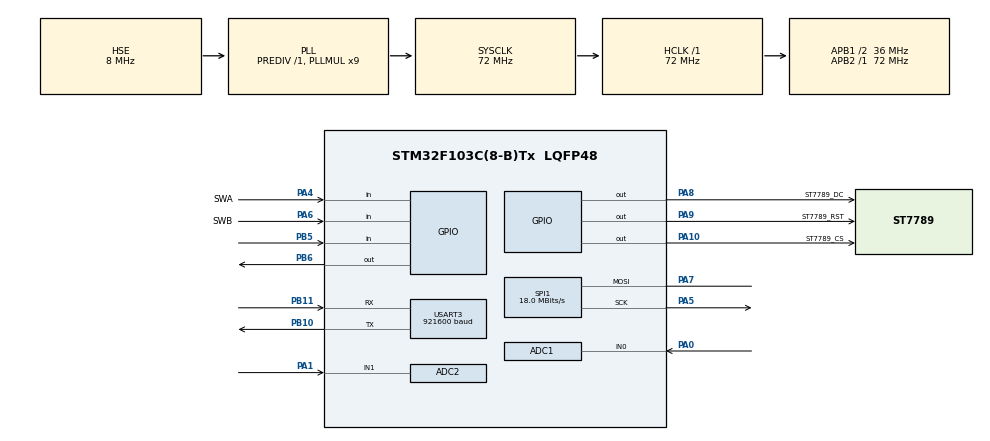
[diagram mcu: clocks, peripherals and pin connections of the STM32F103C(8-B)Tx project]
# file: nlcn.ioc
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ADC1.Channel-0\#ChannelRegularConversion=ADC_CHANNEL_0
ADC1.ContinuousConvMode=ENABLE
ADC1.NbrOfConversionFlag=1
ADC1.Rank-0\#ChannelRegularConversion=1
ADC1.SamplingTime-0\#ChannelRegularConversion=ADC_SAMPLETIME_1CYCLE_5
ADC1.master=1
ADC2.Channel-0\#ChannelRegularConversion=ADC_CHANNEL_1
ADC2.ContinuousConvMode=ENABLE
ADC2.NbrOfConversionFlag=1
ADC2.Rank-0\#ChannelRegularConversion=1
ADC2.SamplingTime-0\#ChannelRegularConversion=ADC_SAMPLETIME_1CYCLE_5
FREERTOS.Queues01=InputEvent,16,InputEvent,0,Dynamic,NULL,NULL
FREERTOS.Tasks01=defaultTask,0,1000,StartDefaultTask,Default,NULL,Dynamic,NULL,NULL;StartInputTask,1,512,InputTask,Default,NULL,Dynamic,NULL,NULL
FREERTOS.configTOTAL_HEAP_SIZE=8000
FREERTOS.configUSE_NEWLIB_REENTRANT=1
Mcu.Family=STM32F1
Mcu.Name=STM32F103C(8-B)Tx
Mcu.Package=LQFP48
NVIC.PriorityGroup=NVIC_PRIORITYGROUP_4
NVIC.TIM2_IRQn=true\:15\:0\:false\:false\:true\:false\:false\:true\:true
NVIC.TimeBase=TIM2_IRQn
NVIC.TimeBaseIP=TIM2
NVIC.USART3_IRQn=true\:5\:0\:false\:false\:true\:true\:true\:true\:true
PA0-WKUP.Signal=ADCx_IN0
PA1.Signal=ADCx_IN1
PA10.GPIO_Label=ST7789_CS
PA10.Signal=GPIO_Output
PA13.Mode=Serial_Wire
PA13.Signal=SYS_JTMS-SWDIO
PA14.Mode=Serial_Wire
PA14.Signal=SYS_JTCK-SWCLK
PA4.GPIO_Label=SWA
PA4.GPIO_PuPd=GPIO_PULLDOWN
PA4.Signal=GPIO_Input
PA5.Mode=Simplex_Bidirectional_Master
PA5.Signal=SPI1_SCK
PA6.GPIO_Label=SWB
PA6.GPIO_PuPd=GPIO_PULLDOWN
PA6.Signal=GPIO_Input
PA7.Mode=Simplex_Bidirectional_Master
PA7.Signal=SPI1_MOSI
PA8.GPIO_Label=ST7789_DC
PA8.Signal=GPIO_Output
PA9.GPIO_Label=ST7789_RST
PA9.Signal=GPIO_Output
PB10.Mode=Asynchronous
PB10.Signal=USART3_TX
PB11.Mode=Asynchronous
PB11.Signal=USART3_RX
PB5.GPIO_PuPd=GPIO_PULLUP
PB5.Signal=GPIO_Input
PB6.Signal=GPIO_Output
PD0-OSC_IN.Mode=HSE-External-Oscillator
PD0-OSC_IN.Signal=RCC_OSC_IN
PD1-OSC_OUT.Mode=HSE-External-Oscillator
PD1-OSC_OUT.Signal=RCC_OSC_OUT
ProjectManager.HeapSize=0x200
ProjectManager.StackSize=0x400
ProjectManager.TargetToolchain=STM32CubeIDE
RCC.ADCPresc=RCC_ADCPCLK2_DIV6
RCC.AHBFreq_Value=72000000
RCC.APB1CLKDivider=RCC_HCLK_DIV2
RCC.APB1Freq_Value=36000000
RCC.APB1TimFreq_Value=72000000
RCC.APB2Freq_Value=72000000
RCC.APB2TimFreq_Value=72000000
RCC.HCLKFreq_Value=72000000
RCC.PLLMUL=RCC_PLL_MUL9
RCC.PLLSourceVirtual=RCC_PLLSOURCE_HSE
RCC.SYSCLKFreq_VALUE=72000000
RCC.SYSCLKSource=RCC_SYSCLKSOURCE_PLLCLK
RCC.USBFreq_Value=72000000
SH.ADCx_IN0.0=ADC1_IN0,IN0
SH.ADCx_IN1.0=ADC2_IN1,IN1
SPI1.BaudRatePrescaler=SPI_BAUDRATEPRESCALER_4
SPI1.CLKPhase=SPI_PHASE_2EDGE
SPI1.CLKPolarity=SPI_POLARITY_HIGH
SPI1.CalculateBaudRate=18.0 MBits/s
SPI1.Direction=SPI_DIRECTION_1LINE
SPI1.Mode=SPI_MODE_MASTER
SPI1.VirtualType=VM_MASTER
USART3.BaudRate=921600
USART3.VirtualMode=VM_ASYNC
VP_FREERTOS_VS_CMSIS_V1.Mode=CMSIS_V1
VP_SYS_VS_tim2.Mode=TIM2
board=custom

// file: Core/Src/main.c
/* USER CODE BEGIN Header */
/**
 ******************************************************************************
 * @file           : main.c
 * @brief          : Main program body
 ******************************************************************************
 * @attention
 *
 * Copyright (c) 2025 STMicroelectronics.
 * All rights reserved.
 *
 * This software is licensed under terms that can be found in the LICENSE file
 * in the root directory of this software component.
 * If no LICENSE file comes with this software, it is provided AS-IS.
 *
 ******************************************************************************
 */
/* USER CODE END Header */
#include "main.h"
#include "cmsis_os.h"

/* USER CODE BEGIN Includes */
#include "fonts.h"
#include "gui.h"
#include "st7789_adapter.h"
#include <stdio.h>
#include <string.h>
#include <stdarg.h>
#include "qrcodegen.h"
#include "st7789.h"
/* USER CODE END Includes */

/* USER CODE BEGIN PD */
const int32_t DEADZONE = 300;
uint8_t bufr[500];
/* USER CODE END PD */

ADC_HandleTypeDef hadc1;
ADC_HandleTypeDef hadc2;

SPI_HandleTypeDef hspi1;

UART_HandleTypeDef huart3;

osThreadId defaultTaskHandle;
osThreadId StartInputTaskHandle;
osMessageQId InputEventHandle;

void SystemClock_Config(void);
static void MX_GPIO_Init(void);
static void MX_SPI1_Init(void);
static void MX_ADC1_Init(void);
static void MX_ADC2_Init(void);
static void MX_USART3_UART_Init(void);
void StartDefaultTask(void const * argument);
void InputTask(void const * argument);

/* USER CODE BEGIN 0 */
extern DuckEngineDriver duckDriver;
void draw_rectangle(int16_t x, int16_t y, int16_t w, int16_t h, uint16_t color) {
	duckDriver.DrawFilledRectangle(x, y, w, h, color);
}
void drawQRCode(const uint8_t *qrcode, int scale, int offset_x, int offset_y) {
	int size = qrcodegen_getSize(qrcode);
	for (int y = 0; y < size; y++) {
		for (int x = 0; x < size; x++) {
			if (qrcodegen_getModule(qrcode, x, y)) {
				draw_rectangle(offset_x + x * scale, offset_y + y * scale,
						scale, scale, BLACK);
			} else {
				draw_rectangle(offset_x + x * scale, offset_y + y * scale,
						scale, scale, WHITE);
			}
		}
	}
}
int8_t my_filter_adc(uint16_t raw_dir) {
	int32_t centered = (int32_t) raw_dir - 1967;
	int32_t scaled = (centered * 128) / 2048;
	if (scaled > 127)
		scaled = 127;
	if (scaled < -128)
		scaled = -128;
	return (int8_t) scaled;
}
void DuckEngineHanleInput() {
	static uint8_t isLeftHeld = 0, isRightHeld = 0, isUpHeld = 0,
			isDownHeld = 0;
	static uint8_t isAHeld = 0, isBHeld = 0;
	static uint32_t lastInputTime = 0;
	if (HAL_GetTick() - lastInputTime < 100)
		return;
	lastInputTime = HAL_GetTick();
	int sumX = 0, sumY = 0;
	for (int i = 0; i < 5; i++) {
		sumX += HAL_ADC_GetValue(&hadc2);
		sumY += HAL_ADC_GetValue(&hadc1);
	}
	int avgX = sumX / 5;
	int avgY = sumY / 5;
	int8_t joystick_x = my_filter_adc(avgX);
	int8_t joystick_y = my_filter_adc(avgY);
	InputEvent ipev;
	if (joystick_x <= -100) {
		if (!isLeftHeld) {
			ipev = J_LEFT;
			xQueueSend(InputEventHandle, &ipev, portMAX_DELAY);
			isLeftHeld = 1;
		}
	} else {
		isLeftHeld = 0;
	}
	if (joystick_x >= 90) {
		if (!isRightHeld) {
			ipev = J_RIGHT;
			xQueueSend(InputEventHandle, &ipev, portMAX_DELAY);
			isRightHeld = 1;
		}
	} else {
		isRightHeld = 0;
	}
	if (joystick_y >= 100) {
		if (!isUpHeld) {
			ipev = J_UP;
			xQueueSend(InputEventHandle, &ipev, portMAX_DELAY);
			isUpHeld = 1;
		}
	} else {
		isUpHeld = 0;
	}
	if (joystick_y <= -100) {
		if (!isDownHeld) {
			ipev = J_DOWN;
			xQueueSend(InputEventHandle, &ipev, portMAX_DELAY);
			isDownHeld = 1;
		}
	} else {
		isDownHeld = 0;
	}
	if (HAL_GPIO_ReadPin(GPIOA, GPIO_PIN_4) == 1) {
		if (!isAHeld) {
			ipev = BUTTON_A_CLICK;
			xQueueSend(InputEventHandle, &ipev, portMAX_DELAY);
			isAHeld = 1;
		}
	} else {
		isAHeld = 0;
	}
	if (HAL_GPIO_ReadPin(GPIOA, GPIO_PIN_6) == 1) {
		if (!isBHeld) {
			ipev = BUTTON_B_CLICK;
			xQueueSend(InputEventHandle, &ipev, portMAX_DELAY);
			isBHeld = 1;
		}
	} else {
		isBHeld = 0;
	}
}
DuckPage usr_home;
DuckPage WifiModal;
DuckPage ConfigModal;
void DuckEngine_Draw_Header() {
	duckDriver.DrawLine(0, 26, 280, 26, WHITE);
}
void DuckEngine_Draw_Footer() {
	duckDriver.DrawFilledRectangle(0, 210, 280, 30, DEEPPURPLE);
}
int _write(int fd, unsigned char *buf, int len) {
	if (fd == 1 || fd == 2) {
		HAL_UART_Transmit(&huart3, buf, len, 999);
	}
	return len;
}

void sendUARTCommand(const char *command, char *response,
		uint16_t response_size) {
	memset(response, '\0', response_size);

	// Clear any pending data in the UART receive buffer before transmitting a new command
	// This is crucial to prevent reading leftover bytes from previous communications.
	uint8_t dummy_read;
	while (HAL_UART_Receive(&huart3, &dummy_read, 1, 10) == HAL_OK)
		;

	// Send the command to the ESP32
	HAL_UART_Transmit(&huart3, (uint8_t*) command, strlen(command),
	HAL_MAX_DELAY);
	HAL_UART_Transmit(&huart3, (uint8_t*) "\n", 1, HAL_MAX_DELAY);

	// Receive the response
	uint16_t index = 0;
	uint32_t startTime = HAL_GetTick();
	const uint32_t timeout = 1000;
	while (index < response_size - 1 && (HAL_GetTick() - startTime) < timeout) {
		uint8_t c;
		if (HAL_UART_Receive(&huart3, &c, 1, 10) == HAL_OK) {
			if (c == '\n' || c == '\r') {
				break; // Stop on newline or carriage return
			}
			response[index++] = c;
		}
	}
	response[index] = '\0';

	// For debugging: Print the received response to see if it's now correct
//	printf("Received QR string: %s\n", response);
}
void getStorageInfo(char *response, uint16_t response_size) {
	sendUARTCommand("GET_STORAGE", response, response_size);
	if (strncmp(response, "ERROR", 5) == 0) {
		snprintf(response, response_size, "Error: GET_STORAGE");
	}
}
void getFilesInfo(char *response, uint16_t response_size) {
	sendUARTCommand("GET_FILES", response, response_size);
	if (strncmp(response, "ERROR", 5) == 0
			|| strncmp(response, "Files: ", 7) != 0) {
		snprintf(response, response_size, "Files: 0");
	}
}
void getUptime(char *response, uint16_t response_size) {
	sendUARTCommand("GET_UPTIME", response, response_size);
	if (strncmp(response, "ERROR", 5) == 0) {
		snprintf(response, response_size, "Error: GET_UPTIME");
	}
}
void getMemoryInfo(char *response, uint16_t response_size) {
	sendUARTCommand("GET_MEMORY", response, response_size);
	if (strncmp(response, "ERROR", 5) == 0) {
		snprintf(response, response_size, "Error: GET_MEMORY");
	}
}
void getWiFiStatus(char *response, uint16_t response_size) {
	sendUARTCommand("GET_WIFI", response, response_size);
	if (strncmp(response, "ERROR", 5) == 0) {
		snprintf(response, response_size, "Error: GET_WIFI");
	}
}
void showLoadingModal() {
	duckDriver.DrawFilledRectangle(0, 0, 280, 240, BLACK);
	duckDriver.WriteString(40, 100, "Generating QR code...", Font_11x18, WHITE,
	BLACK);
	DuckEngine_Render();
}
void BackToHome(DuckObject *obj) {
	DuckEngine_Set_CurrentPage(DuckEngine_Get_CurrentPage()->type, PAGE_HOME);
}
// Trạng thái QR
typedef struct {
    bool qr_generated;
    char wifi_data[128];
} WifiModalState;

static WifiModalState wifiModalState;

void OpenWifiModal(DuckObject *obj) {
    // Lưu trạng thái
    memset(&wifiModalState, 0, sizeof(wifiModalState));

    DuckEngine_Set_CurrentPage(DuckEngine_Get_CurrentPage()->type, PAGE_WIFI_MODAL);

    // Xóa màn hình
    duckDriver.DrawFilledRectangle(0, 0, 280, 240, WHITE);

    // UI cơ bản
    DuckEngine_Create_Label(80, 10, "Scan to connect WiFi", &Font_7x10, BLACK, WHITE, &WifiModal, 0);
    DuckEngine_Create_Button(80, 200, 100, 30, "Back", LABEL_CENTER, &Font_7x10,
                             WHITE, 0, BLACK, &WifiModal, 1, BackToHome);
    DuckEngine_Render();
}

// Hàm update QR (gọi mỗi frame trong main loop)
void UpdateWifiModal() {
    // Nếu không ở trang này thì bỏ qua
    if (DuckEngine_Get_CurrentPage()->type != PAGE_WIFI_MODAL) {
        return;
    }

    // Nếu chưa tạo QR
    if (!wifiModalState.qr_generated) {
        memset(wifiModalState.wifi_data, 0, sizeof(wifiModalState.wifi_data));
        sendUARTCommand("GET_WIFI_QR", wifiModalState.wifi_data, sizeof(wifiModalState.wifi_data) - 1);
        wifiModalState.wifi_data[sizeof(wifiModalState.wifi_data) - 1] = '\0';

        if (strlen(wifiModalState.wifi_data) == 0) {
            duckDriver.WriteString(60, 100, "No WiFi data received", Font_7x10, RED, WHITE);
            wifiModalState.qr_generated = true; // Không cần vẽ nữa
            return;
        }

        // Tạo QR
        uint8_t qrcode[qrcodegen_BUFFER_LEN_MAX];
        uint8_t tempBuffer[qrcodegen_BUFFER_LEN_MAX];

        bool ok = qrcodegen_encodeText(wifiModalState.wifi_data, tempBuffer, qrcode,
                                       qrcodegen_Ecc_LOW, qrcodegen_VERSION_MIN,
                                       qrcodegen_VERSION_MAX, qrcodegen_Mask_AUTO, true);

        if (!ok) {
            duckDriver.WriteString(40, 100, "QR encode failed", Font_7x10, RED, WHITE);
            wifiModalState.qr_generated = true;
            return;
        }

        int size = qrcodegen_getSize(qrcode);
        int scale = 4;
        int offset_x = (280 - size * scale) / 2;
        int offset_y = (240 - size * scale) / 2;

        // Vẽ QR
        for (int y = 0; y < size; y++) {
            // Nếu người dùng bấm Back giữa chừng thì thoát luôn
            if (DuckEngine_Get_CurrentPage()->type != PAGE_WIFI_MODAL) {
                return;
            }
            for (int x = 0; x < size; x++) {
                uint16_t color = qrcodegen_getModule(qrcode, x, y) ? BLACK : WHITE;
                draw_rectangle(offset_x + x * scale, offset_y + y * scale, scale, scale, color);
            }
        }
        DuckEngine_Render();
        wifiModalState.qr_generated = true;
    }
}

void OpenConfigModal(DuckObject *obj) {
    // Save state
    DuckEngine_Set_CurrentPage(DuckEngine_Get_CurrentPage()->type, PAGE_CONFIG_MODAL);

    // Clear the screen with a black background

    // Add a title to the settings window
    DuckEngine_Create_Label(80, 5, "MANUALS", &Font_11x18, SOFTWHITE, BLACK, &ConfigModal, -1);

    // General instructions label
    DuckEngine_Create_Label(20, 40, "Use manual to manage your device settings.", &Font_7x10, PASTELGREEN, BLACK, &ConfigModal, 0);

    // Labels for the WiFi Configuration section
    DuckEngine_Create_Label(20, 60, "WIFI SETUP:", &Font_7x10, PASTELPINK, BLACK, &ConfigModal, 1);
    DuckEngine_Create_Label(20, 80, "Method 1: Enter SSID/password.", &Font_7x10, SOFTWHITE, BLACK, &ConfigModal, 2);
    DuckEngine_Create_Label(20, 100, "Method 2: Scan QR code.", &Font_7x10, SOFTWHITE, BLACK, &ConfigModal, 3);
    DuckEngine_Create_Label(20, 120, "For advanced settings, go to the Admin panel.", &Font_7x10, CLOUDBLUE, BLACK, &ConfigModal, 4);

    // Labels for the general Configuration section
    DuckEngine_Create_Label(20, 150, "ADMIN SETTINGS:", &Font_7x10, PASTELYELLOW, BLACK, &ConfigModal, 5);
    DuckEngine_Create_Label(20, 170, "Change admin password and network options.", &Font_7x10, SOFTWHITE, BLACK, &ConfigModal, 6);

    // "Back" button to return to the home page
    DuckEngine_Create_Button(80, 200, 100, 30, "Back", LABEL_CENTER, &Font_7x10, WHITE, 0, PASTELBLUE, &ConfigModal, 7, BackToHome);

    DuckEngine_Render();
}
void HomePage(DuckPage *page) {
	char response[64];
	DuckEngine_Create_Label(80, 5, "NAS MANAGER", &Font_11x18, SOFTWHITE, BLACK,
			page, 0);
	getStorageInfo(response, sizeof(response));
	page->storage_label = DuckEngine_Create_Label(10, 35, response, &Font_7x10,
	PASTELGREEN, BLACK, page, 0);
	getFilesInfo(response, sizeof(response));
	page->files_label = DuckEngine_Create_Label(10, 50, response, &Font_7x10,
	PASTELGREEN, BLACK, page, 0);
	getUptime(response, sizeof(response));
	page->uptime_label = DuckEngine_Create_Label(10, 70, response, &Font_7x10,
	CLOUDBLUE, BLACK, page, 0);
	getMemoryInfo(response, sizeof(response));
	page->memory_label = DuckEngine_Create_Label(10, 85, response, &Font_7x10,
	CLOUDBLUE, BLACK, page, 0);
	DuckEngine_Create_Label(10, 110, "WiFi:", &Font_7x10, PASTELPINK, BLACK,
			page, 0);
	getWiFiStatus(response, sizeof(response));
	page->wifi_label = DuckEngine_Create_Label(60, 110, response, &Font_7x10,
	PASTELPINK, BLACK, page, 0);
	DuckEngine_Create_Button(30, 140, 100, 30, "Connect to WiFi", LABEL_CENTER,
			&Font_7x10, BLACK, 0, PASTELBLUE, page, 1, OpenWifiModal);
	DuckEngine_Create_Button(150, 140, 100, 30, "Change Config", LABEL_CENTER,
			&Font_7x10, BLACK, 0, PASTELYELLOW, page, 1, OpenConfigModal);
	DuckEngine_Create_Label(100, 200, "Version: 1.0", &Font_7x10, SOFTWHITE,
	BLACK, page, 0);
}
void UpdateHomePageLabels(DuckPage *page) {
	char response[128];
	getStorageInfo(response, sizeof(response));
	if (page->storage_label) {
		DuckLabel *label = (DuckLabel*) page->storage_label;
		memset(label->text, 0, sizeof(label->text));
		strncpy(label->text, response, sizeof(label->text) - 1);
		label->text[sizeof(label->text) - 1] = '\0';
		label->base.isNeedUpdate = 1;
	}
	getFilesInfo(response, sizeof(response));
	if (page->files_label) {
		DuckLabel *label = (DuckLabel*) page->files_label;
		memset(label->text, 0, sizeof(label->text));
		strncpy(label->text, response, sizeof(label->text) - 1);
		label->text[sizeof(label->text) - 1] = '\0';
		label->base.isNeedUpdate = 1;
	}
	getUptime(response, sizeof(response));
	if (page->uptime_label) {
		DuckLabel *label = (DuckLabel*) page->uptime_label;
		memset(label->text, 0, sizeof(label->text));
		strncpy(label->text, response, sizeof(label->text) - 1);
		label->text[sizeof(label->text) - 1] = '\0';
		label->base.isNeedUpdate = 1;
	}
	getMemoryInfo(response, sizeof(response));
	if (page->memory_label) {
		DuckLabel *label = (DuckLabel*) page->memory_label;
		memset(label->text, 0, sizeof(label->text));
		strncpy(label->text, response, sizeof(label->text) - 1);
		label->text[sizeof(label->text) - 1] = '\0';
		label->base.isNeedUpdate = 1;
	}
	getWiFiStatus(response, sizeof(response));
	if (page->wifi_label) {
		DuckLabel *label = (DuckLabel*) page->wifi_label;
		memset(label->text, 0, sizeof(label->text));
		strncpy(label->text, response, sizeof(label->text) - 1);
		label->text[sizeof(label->text) - 1] = '\0';
		label->base.isNeedUpdate = 1;
	}
}
/* USER CODE END 0 */

int main(void)
{

  /* MCU Configuration--------------------------------------------------------*/

  /* Reset of all peripherals, Initializes the Flash interface and the Systick. */
  HAL_Init();

  /* Configure the system clock */
  SystemClock_Config();

  /* Initialize all configured peripherals */
  MX_GPIO_Init();
  MX_SPI1_Init();
  MX_ADC1_Init();
  MX_ADC2_Init();
  MX_USART3_UART_Init();

  /* Create the queue(s) */
  /* definition and creation of InputEvent */
  osMessageQDef(InputEvent, 16, InputEvent);
  InputEventHandle = osMessageCreate(osMessageQ(InputEvent), NULL);

  /* Create the thread(s) */
  /* definition and creation of defaultTask */
  osThreadDef(defaultTask, StartDefaultTask, osPriorityNormal, 0, 1000);
  defaultTaskHandle = osThreadCreate(osThread(defaultTask), NULL);

  /* definition and creation of StartInputTask */
  osThreadDef(StartInputTask, InputTask, osPriorityAboveNormal, 0, 512);
  StartInputTaskHandle = osThreadCreate(osThread(StartInputTask), NULL);

  /* Start scheduler */
  osKernelStart();

  /* We should never get here as control is now taken by the scheduler */

  /* Infinite loop */
  while (1)
  {

  }
}

void SystemClock_Config(void)
{
  RCC_OscInitTypeDef RCC_OscInitStruct = {0};
  RCC_ClkInitTypeDef RCC_ClkInitStruct = {0};
  RCC_PeriphCLKInitTypeDef PeriphClkInit = {0};

  /** Initializes the RCC Oscillators according to the specified parameters
  * in the RCC_OscInitTypeDef structure.
  */
  RCC_OscInitStruct.OscillatorType = RCC_OSCILLATORTYPE_HSE;
  RCC_OscInitStruct.HSEState = RCC_HSE_ON;
  RCC_OscInitStruct.HSEPredivValue = RCC_HSE_PREDIV_DIV1;
  RCC_OscInitStruct.HSIState = RCC_HSI_ON;
  RCC_OscInitStruct.PLL.PLLState = RCC_PLL_ON;
  RCC_OscInitStruct.PLL.PLLSource = RCC_PLLSOURCE_HSE;
  RCC_OscInitStruct.PLL.PLLMUL = RCC_PLL_MUL9;
  if (HAL_RCC_OscConfig(&RCC_OscInitStruct) != HAL_OK)
  {
    Error_Handler();
  }

  /** Initializes the CPU, AHB and APB buses clocks
  */
  RCC_ClkInitStruct.ClockType = RCC_CLOCKTYPE_HCLK|RCC_CLOCKTYPE_SYSCLK
                              |RCC_CLOCKTYPE_PCLK1|RCC_CLOCKTYPE_PCLK2;
  RCC_ClkInitStruct.SYSCLKSource = RCC_SYSCLKSOURCE_PLLCLK;
  RCC_ClkInitStruct.AHBCLKDivider = RCC_SYSCLK_DIV1;
  RCC_ClkInitStruct.APB1CLKDivider = RCC_HCLK_DIV2;
  RCC_ClkInitStruct.APB2CLKDivider = RCC_HCLK_DIV1;

  if (HAL_RCC_ClockConfig(&RCC_ClkInitStruct, FLASH_LATENCY_2) != HAL_OK)
  {
    Error_Handler();
  }
  PeriphClkInit.PeriphClockSelection = RCC_PERIPHCLK_ADC;
  PeriphClkInit.AdcClockSelection = RCC_ADCPCLK2_DIV6;
  if (HAL_RCCEx_PeriphCLKConfig(&PeriphClkInit) != HAL_OK)
  {
    Error_Handler();
  }
}

static void MX_ADC1_Init(void)
{

  ADC_ChannelConfTypeDef sConfig = {0};

  /** Common config
  */
  hadc1.Instance = ADC1;
  hadc1.Init.ScanConvMode = ADC_SCAN_DISABLE;
  hadc1.Init.ContinuousConvMode = ENABLE;
  hadc1.Init.DiscontinuousConvMode = DISABLE;
  hadc1.Init.ExternalTrigConv = ADC_SOFTWARE_START;
  hadc1.Init.DataAlign = ADC_DATAALIGN_RIGHT;
  hadc1.Init.NbrOfConversion = 1;
  if (HAL_ADC_Init(&hadc1) != HAL_OK)
  {
    Error_Handler();
  }

  /** Configure Regular Channel
  */
  sConfig.Channel = ADC_CHANNEL_0;
  sConfig.Rank = ADC_REGULAR_RANK_1;
  sConfig.SamplingTime = ADC_SAMPLETIME_1CYCLE_5;
  if (HAL_ADC_ConfigChannel(&hadc1, &sConfig) != HAL_OK)
  {
    Error_Handler();
  }

}

static void MX_ADC2_Init(void)
{

  ADC_ChannelConfTypeDef sConfig = {0};

  /** Common config
  */
  hadc2.Instance = ADC2;
  hadc2.Init.ScanConvMode = ADC_SCAN_DISABLE;
  hadc2.Init.ContinuousConvMode = ENABLE;
  hadc2.Init.DiscontinuousConvMode = DISABLE;
  hadc2.Init.ExternalTrigConv = ADC_SOFTWARE_START;
  hadc2.Init.DataAlign = ADC_DATAALIGN_RIGHT;
  hadc2.Init.NbrOfConversion = 1;
  if (HAL_ADC_Init(&hadc2) != HAL_OK)
  {
    Error_Handler();
  }

  /** Configure Regular Channel
  */
  sConfig.Channel = ADC_CHANNEL_1;
  sConfig.Rank = ADC_REGULAR_RANK_1;
  sConfig.SamplingTime = ADC_SAMPLETIME_1CYCLE_5;
  if (HAL_ADC_ConfigChannel(&hadc2, &sConfig) != HAL_OK)
  {
    Error_Handler();
  }

}

static void MX_SPI1_Init(void)
{

  /* SPI1 parameter configuration*/
  hspi1.Instance = SPI1;
  hspi1.Init.Mode = SPI_MODE_MASTER;
  hspi1.Init.Direction = SPI_DIRECTION_1LINE;
  hspi1.Init.DataSize = SPI_DATASIZE_8BIT;
  hspi1.Init.CLKPolarity = SPI_POLARITY_HIGH;
  hspi1.Init.CLKPhase = SPI_PHASE_2EDGE;
  hspi1.Init.NSS = SPI_NSS_SOFT;
  hspi1.Init.BaudRatePrescaler = SPI_BAUDRATEPRESCALER_4;
  hspi1.Init.FirstBit = SPI_FIRSTBIT_MSB;
  hspi1.Init.TIMode = SPI_TIMODE_DISABLE;
  hspi1.Init.CRCCalculation = SPI_CRCCALCULATION_DISABLE;
  hspi1.Init.CRCPolynomial = 10;
  if (HAL_SPI_Init(&hspi1) != HAL_OK)
  {
    Error_Handler();
  }

}

static void MX_USART3_UART_Init(void)
{

  huart3.Instance = USART3;
  huart3.Init.BaudRate = 921600;
  huart3.Init.WordLength = UART_WORDLENGTH_8B;
  huart3.Init.StopBits = UART_STOPBITS_1;
  huart3.Init.Parity = UART_PARITY_NONE;
  huart3.Init.Mode = UART_MODE_TX_RX;
  huart3.Init.HwFlowCtl = UART_HWCONTROL_NONE;
  huart3.Init.OverSampling = UART_OVERSAMPLING_16;
  if (HAL_UART_Init(&huart3) != HAL_OK)
  {
    Error_Handler();
  }

}

static void MX_GPIO_Init(void)
{
  GPIO_InitTypeDef GPIO_InitStruct = {0};

  /* GPIO Ports Clock Enable */
  __HAL_RCC_GPIOD_CLK_ENABLE();
  __HAL_RCC_GPIOA_CLK_ENABLE();
  __HAL_RCC_GPIOB_CLK_ENABLE();

  /*Configure GPIO pin Output Level */
  HAL_GPIO_WritePin(GPIOA, ST7789_DC_Pin|ST7789_RST_Pin|ST7789_CS_Pin, GPIO_PIN_RESET);

  /*Configure GPIO pin Output Level */
  HAL_GPIO_WritePin(GPIOB, GPIO_PIN_6, GPIO_PIN_RESET);

  /*Configure GPIO pins : SWA_Pin SWB_Pin */
  GPIO_InitStruct.Pin = SWA_Pin|SWB_Pin;
  GPIO_InitStruct.Mode = GPIO_MODE_INPUT;
  GPIO_InitStruct.Pull = GPIO_PULLDOWN;
  HAL_GPIO_Init(GPIOA, &GPIO_InitStruct);

  /*Configure GPIO pins : ST7789_DC_Pin ST7789_RST_Pin ST7789_CS_Pin */
  GPIO_InitStruct.Pin = ST7789_DC_Pin|ST7789_RST_Pin|ST7789_CS_Pin;
  GPIO_InitStruct.Mode = GPIO_MODE_OUTPUT_PP;
  GPIO_InitStruct.Pull = GPIO_NOPULL;
  GPIO_InitStruct.Speed = GPIO_SPEED_FREQ_LOW;
  HAL_GPIO_Init(GPIOA, &GPIO_InitStruct);

  /*Configure GPIO pin : PB5 */
  GPIO_InitStruct.Pin = GPIO_PIN_5;
  GPIO_InitStruct.Mode = GPIO_MODE_INPUT;
  GPIO_InitStruct.Pull = GPIO_PULLUP;
  HAL_GPIO_Init(GPIOB, &GPIO_InitStruct);

  /*Configure GPIO pin : PB6 */
  GPIO_InitStruct.Pin = GPIO_PIN_6;
  GPIO_InitStruct.Mode = GPIO_MODE_OUTPUT_PP;
  GPIO_InitStruct.Pull = GPIO_NOPULL;
  GPIO_InitStruct.Speed = GPIO_SPEED_FREQ_LOW;
  HAL_GPIO_Init(GPIOB, &GPIO_InitStruct);

}

void StartDefaultTask(void const * argument)
{
  for(;;)
  {
    osDelay(1);
  }
}

void InputTask(void const * argument)
{
  for(;;)
  {
    osDelay(1);
  }
}

void HAL_TIM_PeriodElapsedCallback(TIM_HandleTypeDef *htim)
{
  if (htim->Instance == TIM2)
  {
    HAL_IncTick();
  }
}

void Error_Handler(void)
{
  __disable_irq();
  while (1)
  {
  }
}
